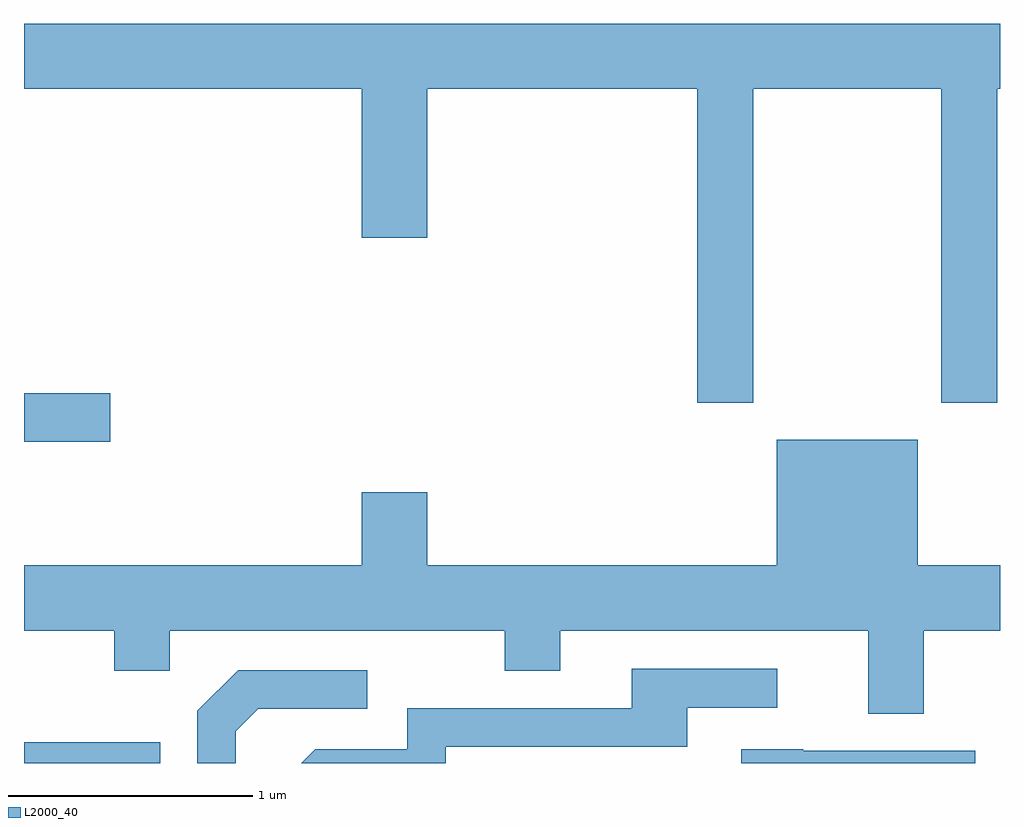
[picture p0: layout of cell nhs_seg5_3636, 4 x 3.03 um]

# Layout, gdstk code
import gdstk
lib = gdstk.Library(unit=1e-6, precision=1e-09)
def R(c, l, rs):  # rectangles x0, y0, x1, y1
    for r in rs: c.add(gdstk.rectangle(r[:2], r[2:], *l))
def P(c, l, *ps):  # polygons
    for p in ps: c.add(gdstk.Polygon(p, *l))
L2000_40 = (2000, 40)

nhs_seg5_3636 = lib.new_cell('nhs_seg5_3636')
R(nhs_seg5_3636, L2000_40, [(293.611,1414.072,294.169,1414.159), (293.611,1415.391,293.964,1415.589)])
P(nhs_seg5_3636, L2000_40, [(296.599,1416.836),(297.371,1416.836),(297.371,1415.551),(297.599,1415.551),(297.599,1416.836),(297.611,1416.836),(297.611,1417.104),(293.611,1417.104),(293.611,1416.836),(294.996,1416.836),(294.996,1416.226),(295.264,1416.226),(295.264,1416.836),(296.371,1416.836),(296.371,1415.551),(296.599,1415.551)],
  [(297.299,1414.616),(297.611,1414.616),(297.611,1414.884),(297.274,1414.884),(297.274,1415.399),(296.696,1415.399),(296.696,1414.884),(295.264,1414.884),(295.264,1415.184),(294.996,1415.184),(294.996,1414.884),(293.611,1414.884),(293.611,1414.616),(293.981,1414.616),(293.981,1414.451),(294.209,1414.451),(294.209,1414.616),(295.581,1414.616),(295.581,1414.451),(295.809,1414.451),(295.809,1414.616),(297.071,1414.616),(297.071,1414.276),(297.299,1414.276)],
  [(295.339,1414.141),(296.329,1414.141),(296.329,1414.301),(296.698,1414.301),(296.698,1414.459),(296.101,1414.459),(296.101,1414.299),(295.181,1414.299),(295.181,1414.129),(294.804,1414.129),(294.747,1414.072),(295.339,1414.072)],
  [(294.479,1414.204),(294.572,1414.296),(295.018,1414.296),(295.018,1414.454),(294.489,1414.454),(294.321,1414.287),(294.321,1414.072),(294.479,1414.072)],
  [(297.509,1414.124),(296.805,1414.124),(296.805,1414.129),(296.551,1414.129),(296.551,1414.072),(297.509,1414.072)])

lib.write_gds('nhs_seg5_3636.gds')
